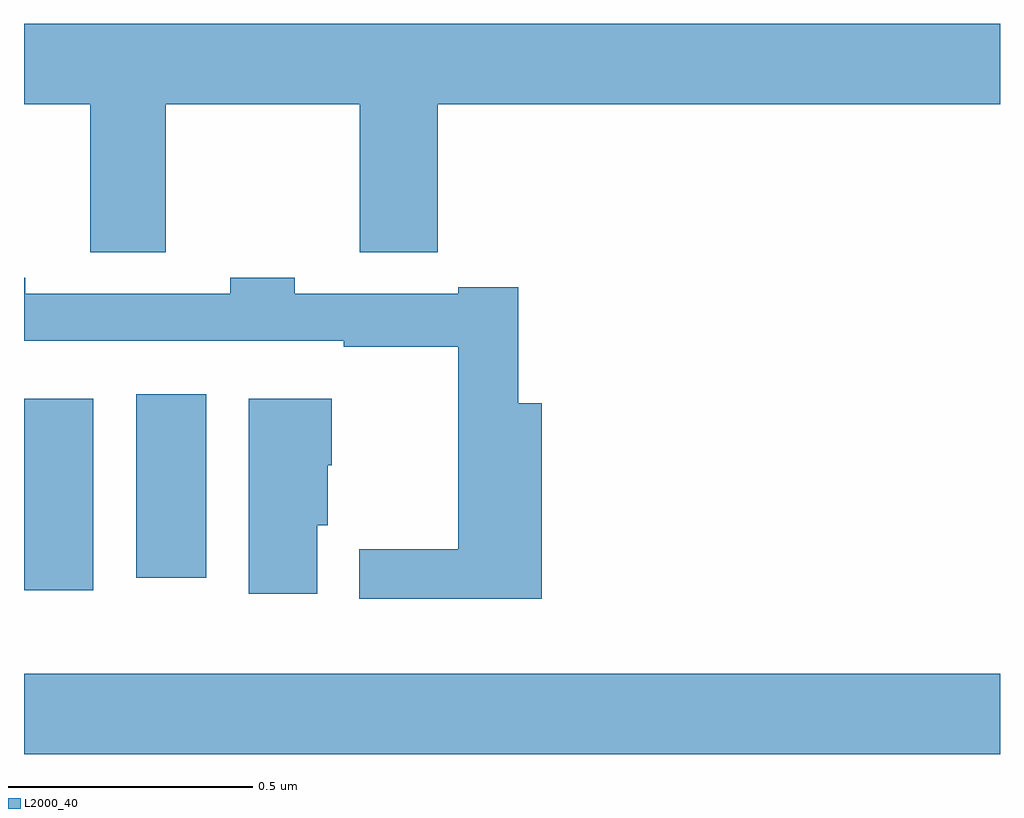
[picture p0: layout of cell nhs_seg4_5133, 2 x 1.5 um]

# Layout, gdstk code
import gdstk
lib = gdstk.Library(unit=1e-6, precision=1e-09)
def R(c, l, rs):  # rectangles x0, y0, x1, y1
    for r in rs: c.add(gdstk.rectangle(r[:2], r[2:], *l))
def P(c, l, *ps):  # polygons
    for p in ps: c.add(gdstk.Polygon(p, *l))
L2000_40 = (2000, 40)

nhs_seg4_5133 = lib.new_cell('nhs_seg4_5133')
R(nhs_seg4_5133, L2000_40, [(174,782.168,176,782.332), (174,782.504,174.142,782.896), (174.23,782.529,174.373,782.905)])
P(nhs_seg4_5133, L2000_40, [(174.29,783.5),(174.688,783.5),(174.688,783.196),(174.848,783.196),(174.848,783.5),(176,783.5),(176,783.664),(174,783.664),(174,783.5),(174.136,783.5),(174.136,783.196),(174.29,783.196)],
  [(175.061,782.887),(175.013,782.887),(175.013,783.124),(174.89,783.124),(174.89,783.111),(174.555,783.111),(174.555,783.144),(174.423,783.144),(174.423,783.111),(174.003,783.111),(174.003,783.144),(174,783.144),(174,783.015),(174.655,783.015),(174.655,783.003),(174.89,783.003),(174.89,782.588),(174.687,782.588),(174.687,782.486),(175.061,782.486)],
  [(174.601,782.637),(174.622,782.637),(174.622,782.76),(174.631,782.76),(174.631,782.896),(174.461,782.896),(174.461,782.496),(174.601,782.496)])

lib.write_gds('nhs_seg4_5133.gds')
